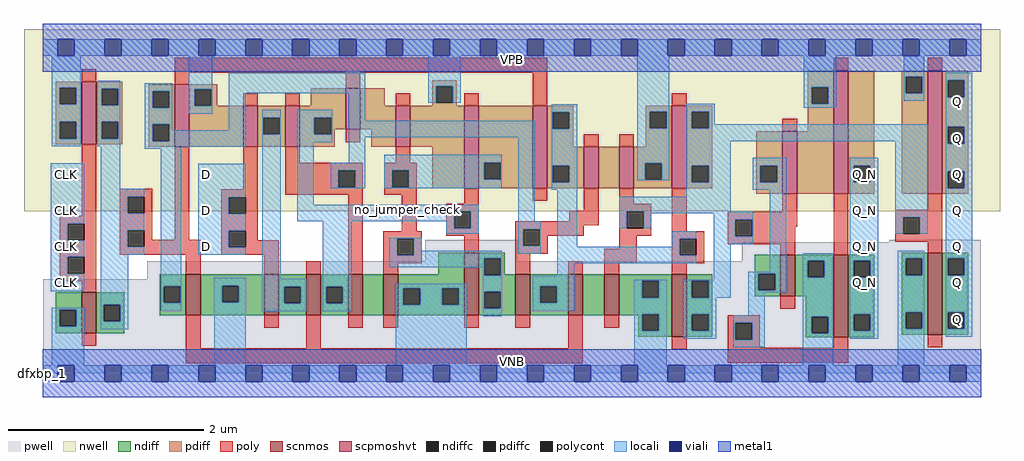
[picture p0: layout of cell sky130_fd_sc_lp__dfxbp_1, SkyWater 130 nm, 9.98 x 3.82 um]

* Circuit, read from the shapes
.subckt sky130_fd_sc_lp__dfxbp_1 CLK D VGND VNB VPB VPWR Q Q_N
XM1 n1 CLK VGND VNB sky130_fd_pr__nfet_01v8 w=0.42 l=0.15
XM2 VGND n1 n2 VNB sky130_fd_pr__nfet_01v8 w=0.42 l=0.15
XM3 n3 D VGND VNB sky130_fd_pr__nfet_01v8 w=0.42 l=0.15
XM4 n4 n1 n3 VNB sky130_fd_pr__nfet_01v8 w=0.42 l=0.15
XM5 n5 n2 n4 VNB sky130_fd_pr__nfet_01v8 w=0.42 l=0.15
XM6 VGND n6 n5 VNB sky130_fd_pr__nfet_01v8 w=0.42 l=0.15
XM7 n6 n4 VGND VNB sky130_fd_pr__nfet_01v8 w=0.64 l=0.15
XM8 n7 n2 n6 VNB sky130_fd_pr__nfet_01v8 w=0.42 l=0.15
XM9 n8 n1 n7 VNB sky130_fd_pr__nfet_01v8 w=0.42 l=0.15
XM10 VGND n9 n8 VNB sky130_fd_pr__nfet_01v8 w=0.42 l=0.15
XM11 n9 n7 VGND VNB sky130_fd_pr__nfet_01v8 w=0.64 l=0.15
XM12 VGND n9 n10 VNB sky130_fd_pr__nfet_01v8 w=0.42 l=0.15
XM13 Q_N n10 VGND VNB sky130_fd_pr__nfet_01v8 w=0.84 l=0.15
XM14 Q n9 VGND VNB sky130_fd_pr__nfet_01v8 w=0.84 l=0.15
XM15 n1 CLK VPWR VPB sky130_fd_pr__pfet_01v8_hvt w=0.64 l=0.15
XM16 VPWR n1 n2 VPB sky130_fd_pr__pfet_01v8_hvt w=0.64 l=0.15
XM17 n3 D VPWR VPB sky130_fd_pr__pfet_01v8_hvt w=0.42 l=0.15
XM18 n4 n2 n3 VPB sky130_fd_pr__pfet_01v8_hvt w=0.42 l=0.15
XM19 n11 n1 n4 VPB sky130_fd_pr__pfet_01v8_hvt w=0.42 l=0.15
XM20 VPWR n6 n11 VPB sky130_fd_pr__pfet_01v8_hvt w=0.42 l=0.15
XM21 n6 n4 VPWR VPB sky130_fd_pr__pfet_01v8_hvt w=0.84 l=0.15
XM22 n7 n1 n6 VPB sky130_fd_pr__pfet_01v8_hvt w=0.84 l=0.15
XM23 n12 n2 n7 VPB sky130_fd_pr__pfet_01v8_hvt w=0.42 l=0.15
XM24 VPWR n9 n12 VPB sky130_fd_pr__pfet_01v8_hvt w=0.42 l=0.15
XM25 n9 n7 VPWR VPB sky130_fd_pr__pfet_01v8_hvt w=0.84 l=0.15
XM26 VPWR n9 n10 VPB sky130_fd_pr__pfet_01v8_hvt w=0.64 l=0.15
XM27 Q_N n10 VPWR VPB sky130_fd_pr__pfet_01v8_hvt w=1.26 l=0.15
XM28 Q n9 VPWR VPB sky130_fd_pr__pfet_01v8_hvt w=1.26 l=0.15
.ends

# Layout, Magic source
magic
tech sky130A
magscale 1 2
<< nwell >>
rect -38 331 1958 704
<< pwell >>
rect 783 229 971 273
rect 1731 268 1919 273
rect 1430 229 1919 268
rect 214 192 1919 229
rect 1 49 1919 192
rect 0 0 1920 49
<< scnmos >>
rect 80 82 110 166
rect 293 119 323 203
rect 453 119 483 203
rect 539 119 569 203
rect 625 119 655 203
rect 697 119 727 203
rect 862 119 892 247
rect 967 119 997 203
rect 1075 119 1105 203
rect 1149 119 1179 203
rect 1287 75 1317 203
rect 1509 158 1539 242
rect 1618 74 1648 242
rect 1810 79 1840 247
<< scpmoshvt >>
rect 80 468 110 596
rect 270 463 300 591
rect 410 463 440 547
rect 496 463 526 547
rect 620 499 650 583
rect 722 463 752 547
rect 862 379 892 547
rect 1002 379 1032 547
rect 1107 379 1137 463
rect 1179 379 1209 463
rect 1287 379 1317 547
rect 1513 367 1543 495
rect 1618 367 1648 619
rect 1810 367 1840 619
<< ndiff >>
rect 809 203 862 247
rect 240 178 293 203
rect 27 130 80 166
rect 27 96 35 130
rect 69 96 80 130
rect 27 82 80 96
rect 110 140 167 166
rect 110 106 125 140
rect 159 106 167 140
rect 240 144 248 178
rect 282 144 293 178
rect 240 119 293 144
rect 323 179 453 203
rect 323 145 367 179
rect 401 145 453 179
rect 323 119 453 145
rect 483 177 539 203
rect 483 143 494 177
rect 528 143 539 177
rect 483 119 539 143
rect 569 177 625 203
rect 569 143 580 177
rect 614 143 625 177
rect 569 119 625 143
rect 655 119 697 203
rect 727 174 862 203
rect 727 140 738 174
rect 772 140 817 174
rect 851 140 862 174
rect 727 119 862 140
rect 892 235 945 247
rect 892 201 903 235
rect 937 203 945 235
rect 1456 204 1509 242
rect 937 201 967 203
rect 892 167 967 201
rect 892 133 903 167
rect 937 133 967 167
rect 892 119 967 133
rect 997 178 1075 203
rect 997 144 1018 178
rect 1052 144 1075 178
rect 997 119 1075 144
rect 1105 119 1149 203
rect 1179 189 1287 203
rect 1179 155 1226 189
rect 1260 155 1287 189
rect 1179 121 1287 155
rect 1179 119 1226 121
rect 110 82 167 106
rect 1218 87 1226 119
rect 1260 87 1287 121
rect 1218 75 1287 87
rect 1317 189 1370 203
rect 1317 155 1328 189
rect 1362 155 1370 189
rect 1456 170 1464 204
rect 1498 170 1509 204
rect 1456 158 1509 170
rect 1539 230 1618 242
rect 1539 196 1565 230
rect 1599 196 1618 230
rect 1539 158 1618 196
rect 1317 121 1370 155
rect 1317 87 1328 121
rect 1362 87 1370 121
rect 1317 75 1370 87
rect 1561 116 1618 158
rect 1561 82 1573 116
rect 1607 82 1618 116
rect 1561 74 1618 82
rect 1648 230 1701 242
rect 1648 196 1659 230
rect 1693 196 1701 230
rect 1648 121 1701 196
rect 1648 87 1659 121
rect 1693 87 1701 121
rect 1648 74 1701 87
rect 1757 235 1810 247
rect 1757 201 1765 235
rect 1799 201 1810 235
rect 1757 125 1810 201
rect 1757 91 1765 125
rect 1799 91 1810 125
rect 1757 79 1810 91
rect 1840 235 1893 247
rect 1840 201 1851 235
rect 1885 201 1893 235
rect 1840 125 1893 201
rect 1840 91 1851 125
rect 1885 91 1893 125
rect 1840 79 1893 91
<< pdiff >>
rect 27 584 80 596
rect 27 550 35 584
rect 69 550 80 584
rect 27 514 80 550
rect 27 480 35 514
rect 69 480 80 514
rect 27 468 80 480
rect 110 582 163 596
rect 110 548 121 582
rect 155 548 163 582
rect 110 514 163 548
rect 110 480 121 514
rect 155 480 163 514
rect 110 468 163 480
rect 217 577 270 591
rect 217 543 225 577
rect 259 543 270 577
rect 217 509 270 543
rect 217 475 225 509
rect 259 475 270 509
rect 217 463 270 475
rect 300 581 357 591
rect 797 587 847 599
rect 300 547 311 581
rect 345 547 357 581
rect 548 547 620 583
rect 300 463 410 547
rect 440 523 496 547
rect 440 489 451 523
rect 485 489 496 523
rect 440 463 496 489
rect 526 523 620 547
rect 526 489 556 523
rect 590 499 620 523
rect 650 547 700 583
rect 797 553 805 587
rect 839 553 847 587
rect 797 547 847 553
rect 1565 585 1618 619
rect 1565 551 1573 585
rect 1607 551 1618 585
rect 650 499 722 547
rect 590 489 598 499
rect 526 463 598 489
rect 672 463 722 499
rect 752 463 862 547
rect 797 379 862 463
rect 892 431 1002 547
rect 892 397 903 431
rect 937 397 1002 431
rect 892 379 1002 397
rect 1032 534 1085 547
rect 1032 500 1043 534
rect 1077 500 1085 534
rect 1032 463 1085 500
rect 1234 535 1287 547
rect 1234 501 1242 535
rect 1276 501 1287 535
rect 1234 463 1287 501
rect 1032 425 1107 463
rect 1032 391 1043 425
rect 1077 391 1107 425
rect 1032 379 1107 391
rect 1137 379 1179 463
rect 1209 430 1287 463
rect 1209 396 1232 430
rect 1266 396 1287 430
rect 1209 379 1287 396
rect 1317 535 1370 547
rect 1317 501 1328 535
rect 1362 501 1370 535
rect 1317 425 1370 501
rect 1565 495 1618 551
rect 1317 391 1328 425
rect 1362 391 1370 425
rect 1317 379 1370 391
rect 1460 425 1513 495
rect 1460 391 1468 425
rect 1502 391 1513 425
rect 1460 367 1513 391
rect 1543 367 1618 495
rect 1648 425 1701 619
rect 1648 391 1659 425
rect 1693 391 1701 425
rect 1648 367 1701 391
rect 1757 607 1810 619
rect 1757 573 1765 607
rect 1799 573 1810 607
rect 1757 367 1810 573
rect 1840 599 1893 619
rect 1840 565 1851 599
rect 1885 565 1893 599
rect 1840 504 1893 565
rect 1840 470 1851 504
rect 1885 470 1893 504
rect 1840 413 1893 470
rect 1840 379 1851 413
rect 1885 379 1893 413
rect 1840 367 1893 379
<< ndiffc >>
rect 35 96 69 130
rect 125 106 159 140
rect 248 144 282 178
rect 367 145 401 179
rect 494 143 528 177
rect 580 143 614 177
rect 738 140 772 174
rect 817 140 851 174
rect 903 201 937 235
rect 903 133 937 167
rect 1018 144 1052 178
rect 1226 155 1260 189
rect 1226 87 1260 121
rect 1328 155 1362 189
rect 1464 170 1498 204
rect 1565 196 1599 230
rect 1328 87 1362 121
rect 1573 82 1607 116
rect 1659 196 1693 230
rect 1659 87 1693 121
rect 1765 201 1799 235
rect 1765 91 1799 125
rect 1851 201 1885 235
rect 1851 91 1885 125
<< pdiffc >>
rect 35 550 69 584
rect 35 480 69 514
rect 121 548 155 582
rect 121 480 155 514
rect 225 543 259 577
rect 225 475 259 509
rect 311 547 345 581
rect 451 489 485 523
rect 556 489 590 523
rect 805 553 839 587
rect 1573 551 1607 585
rect 903 397 937 431
rect 1043 500 1077 534
rect 1242 501 1276 535
rect 1043 391 1077 425
rect 1232 396 1266 430
rect 1328 501 1362 535
rect 1328 391 1362 425
rect 1468 391 1502 425
rect 1659 391 1693 425
rect 1765 573 1799 607
rect 1851 565 1885 599
rect 1851 470 1885 504
rect 1851 379 1885 413
<< poly >>
rect 80 596 110 622
rect 270 615 1032 645
rect 1618 619 1648 645
rect 1810 619 1840 645
rect 270 591 300 615
rect 80 322 110 468
rect 620 583 650 615
rect 410 547 440 573
rect 496 547 526 573
rect 722 547 752 573
rect 862 547 892 573
rect 1002 547 1032 615
rect 1287 547 1317 573
rect 620 473 650 499
rect 35 306 110 322
rect 35 272 51 306
rect 85 272 110 306
rect 35 238 110 272
rect 158 361 224 377
rect 158 327 174 361
rect 208 327 224 361
rect 158 293 224 327
rect 158 259 174 293
rect 208 273 224 293
rect 270 273 300 463
rect 410 376 440 463
rect 365 360 440 376
rect 496 431 526 463
rect 722 431 752 463
rect 496 415 655 431
rect 496 381 605 415
rect 639 381 655 415
rect 496 365 655 381
rect 699 415 765 431
rect 699 381 715 415
rect 749 381 765 415
rect 699 365 765 381
rect 1107 463 1137 489
rect 1179 463 1209 489
rect 1513 495 1543 521
rect 365 326 381 360
rect 415 326 440 360
rect 365 292 440 326
rect 208 259 323 273
rect 158 243 323 259
rect 35 204 51 238
rect 85 204 110 238
rect 35 188 110 204
rect 293 203 323 243
rect 365 258 381 292
rect 415 272 440 292
rect 415 258 483 272
rect 365 242 483 258
rect 453 203 483 242
rect 539 203 569 229
rect 625 203 655 365
rect 735 291 765 365
rect 862 347 892 379
rect 1002 353 1032 379
rect 826 331 892 347
rect 1107 333 1137 379
rect 826 297 842 331
rect 876 297 892 331
rect 1077 311 1137 333
rect 697 275 775 291
rect 826 281 892 297
rect 697 241 725 275
rect 759 241 775 275
rect 862 247 892 281
rect 967 303 1137 311
rect 1179 347 1209 379
rect 1179 331 1245 347
rect 967 295 1107 303
rect 967 261 983 295
rect 1017 281 1107 295
rect 1179 297 1195 331
rect 1229 297 1245 331
rect 1179 281 1245 297
rect 1287 291 1317 379
rect 1513 330 1543 367
rect 1401 314 1543 330
rect 1017 261 1033 281
rect 697 225 775 241
rect 697 203 727 225
rect 80 166 110 188
rect 967 245 1033 261
rect 1179 255 1215 281
rect 967 203 997 245
rect 1075 203 1105 229
rect 1149 225 1215 255
rect 1287 275 1353 291
rect 1287 241 1303 275
rect 1337 241 1353 275
rect 1401 280 1417 314
rect 1451 300 1543 314
rect 1451 280 1539 300
rect 1401 264 1539 280
rect 1509 242 1539 264
rect 1618 242 1648 367
rect 1810 335 1840 367
rect 1744 319 1840 335
rect 1744 285 1760 319
rect 1794 285 1840 319
rect 1744 269 1840 285
rect 1810 247 1840 269
rect 1287 225 1353 241
rect 1149 203 1179 225
rect 1287 203 1317 225
rect 80 56 110 82
rect 293 51 323 119
rect 453 93 483 119
rect 539 51 569 119
rect 625 93 655 119
rect 697 93 727 119
rect 862 93 892 119
rect 967 93 997 119
rect 1075 51 1105 119
rect 1149 93 1179 119
rect 1509 132 1539 158
rect 1401 103 1467 119
rect 293 21 1105 51
rect 1287 49 1317 75
rect 1401 69 1417 103
rect 1451 69 1467 103
rect 1401 52 1467 69
rect 1618 52 1648 74
rect 1810 53 1840 79
rect 1401 22 1648 52
<< polycont >>
rect 51 272 85 306
rect 174 327 208 361
rect 174 259 208 293
rect 605 381 639 415
rect 715 381 749 415
rect 381 326 415 360
rect 51 204 85 238
rect 381 258 415 292
rect 842 297 876 331
rect 725 241 759 275
rect 983 261 1017 295
rect 1195 297 1229 331
rect 1303 241 1337 275
rect 1417 280 1451 314
rect 1760 285 1794 319
rect 1417 69 1451 103
<< locali >>
rect 0 649 31 683
rect 65 649 127 683
rect 161 649 223 683
rect 257 649 319 683
rect 353 649 415 683
rect 449 649 511 683
rect 545 649 607 683
rect 641 649 703 683
rect 737 649 799 683
rect 833 649 895 683
rect 929 649 991 683
rect 1025 649 1087 683
rect 1121 649 1183 683
rect 1217 649 1279 683
rect 1313 649 1375 683
rect 1409 649 1471 683
rect 1505 649 1567 683
rect 1601 649 1663 683
rect 1697 649 1759 683
rect 1793 649 1855 683
rect 1889 649 1920 683
rect 19 584 78 649
rect 19 550 35 584
rect 69 550 78 584
rect 19 514 78 550
rect 19 480 35 514
rect 69 480 78 514
rect 19 464 78 480
rect 112 582 159 598
rect 112 548 121 582
rect 155 548 159 582
rect 112 514 159 548
rect 112 480 121 514
rect 155 480 159 514
rect 112 464 159 480
rect 17 306 85 430
rect 17 272 51 306
rect 17 238 85 272
rect 17 204 51 238
rect 17 168 85 204
rect 119 377 159 464
rect 209 577 265 593
rect 209 543 225 577
rect 259 543 265 577
rect 209 509 265 543
rect 299 581 347 649
rect 299 547 311 581
rect 345 547 347 581
rect 299 531 347 547
rect 381 573 660 615
rect 209 475 225 509
rect 259 497 265 509
rect 381 497 415 573
rect 259 475 415 497
rect 209 463 415 475
rect 449 523 487 539
rect 449 489 451 523
rect 485 489 487 523
rect 209 459 284 463
rect 119 361 208 377
rect 119 327 174 361
rect 119 293 208 327
rect 119 259 174 293
rect 119 243 208 259
rect 119 140 175 243
rect 19 130 85 134
rect 19 96 35 130
rect 69 96 85 130
rect 19 17 85 96
rect 119 106 125 140
rect 159 106 175 140
rect 242 178 284 459
rect 318 360 415 429
rect 318 326 381 360
rect 318 292 415 326
rect 318 258 381 292
rect 318 242 415 258
rect 242 144 248 178
rect 282 144 284 178
rect 242 128 284 144
rect 351 179 415 195
rect 351 145 367 179
rect 401 145 415 179
rect 119 90 175 106
rect 351 17 415 145
rect 449 193 487 489
rect 521 523 592 539
rect 521 489 556 523
rect 590 489 592 523
rect 521 473 592 489
rect 626 517 660 573
rect 789 587 855 649
rect 789 553 805 587
rect 839 553 855 587
rect 1041 534 1093 550
rect 626 483 1007 517
rect 521 345 555 473
rect 626 431 660 483
rect 589 415 660 431
rect 589 381 605 415
rect 639 381 660 415
rect 589 379 660 381
rect 699 431 939 447
rect 699 415 903 431
rect 699 381 715 415
rect 749 397 903 415
rect 937 397 939 431
rect 749 381 939 397
rect 699 379 939 381
rect 521 331 892 345
rect 521 311 842 331
rect 449 177 539 193
rect 449 143 494 177
rect 528 143 539 177
rect 449 127 539 143
rect 573 177 632 311
rect 826 297 842 311
rect 876 297 892 331
rect 826 285 892 297
rect 973 311 1007 483
rect 1041 500 1043 534
rect 1077 500 1093 534
rect 1041 425 1093 500
rect 1041 391 1043 425
rect 1077 391 1093 425
rect 1216 535 1282 649
rect 1557 585 1623 649
rect 1557 551 1573 585
rect 1607 551 1623 585
rect 1761 607 1803 649
rect 1761 573 1765 607
rect 1799 573 1803 607
rect 1761 557 1803 573
rect 1847 599 1901 615
rect 1847 565 1851 599
rect 1885 565 1901 599
rect 1216 501 1242 535
rect 1276 501 1282 535
rect 1216 430 1282 501
rect 1216 396 1232 430
rect 1266 396 1282 430
rect 1216 395 1282 396
rect 1316 535 1375 551
rect 1557 543 1623 551
rect 1316 501 1328 535
rect 1362 509 1375 535
rect 1362 501 1810 509
rect 1316 475 1810 501
rect 1316 425 1407 475
rect 1041 375 1093 391
rect 973 295 1019 311
rect 709 275 775 277
rect 709 241 725 275
rect 759 251 775 275
rect 973 261 983 295
rect 1017 261 1019 295
rect 759 241 939 251
rect 973 245 1019 261
rect 1053 259 1093 375
rect 1316 391 1328 425
rect 1362 391 1407 425
rect 1316 361 1407 391
rect 1452 425 1521 441
rect 1452 391 1468 425
rect 1502 391 1521 425
rect 1452 375 1521 391
rect 1179 331 1407 361
rect 1179 297 1195 331
rect 1229 330 1407 331
rect 1229 327 1453 330
rect 1229 297 1245 327
rect 1373 314 1453 327
rect 1287 275 1337 291
rect 1287 259 1303 275
rect 709 235 939 241
rect 709 217 903 235
rect 901 201 903 217
rect 937 201 939 235
rect 573 143 580 177
rect 614 143 632 177
rect 573 127 632 143
rect 722 174 867 183
rect 722 140 738 174
rect 772 140 817 174
rect 851 140 867 174
rect 722 17 867 140
rect 901 167 939 201
rect 1053 241 1303 259
rect 1053 225 1337 241
rect 1373 280 1417 314
rect 1451 280 1453 314
rect 1373 264 1453 280
rect 1053 199 1087 225
rect 901 133 903 167
rect 937 133 939 167
rect 901 117 939 133
rect 1002 178 1087 199
rect 1373 191 1407 264
rect 1487 208 1521 375
rect 1651 425 1709 441
rect 1651 391 1659 425
rect 1693 391 1709 425
rect 1002 144 1018 178
rect 1052 144 1087 178
rect 1002 128 1087 144
rect 1210 189 1276 191
rect 1210 155 1226 189
rect 1260 155 1276 189
rect 1210 121 1276 155
rect 1210 87 1226 121
rect 1260 87 1276 121
rect 1210 17 1276 87
rect 1310 189 1407 191
rect 1310 155 1328 189
rect 1362 155 1407 189
rect 1443 204 1521 208
rect 1443 170 1464 204
rect 1498 170 1521 204
rect 1443 166 1521 170
rect 1555 230 1617 246
rect 1555 196 1565 230
rect 1599 196 1617 230
rect 1310 121 1378 155
rect 1310 87 1328 121
rect 1362 87 1378 121
rect 1443 119 1477 166
rect 1310 71 1378 87
rect 1412 103 1477 119
rect 1412 69 1417 103
rect 1451 69 1477 103
rect 1412 53 1477 69
rect 1555 116 1617 196
rect 1555 82 1573 116
rect 1607 82 1617 116
rect 1555 17 1617 82
rect 1651 230 1709 391
rect 1744 319 1810 475
rect 1744 285 1760 319
rect 1794 285 1810 319
rect 1847 504 1901 565
rect 1847 470 1851 504
rect 1885 470 1901 504
rect 1847 413 1901 470
rect 1847 379 1851 413
rect 1885 379 1901 413
rect 1651 196 1659 230
rect 1693 196 1709 230
rect 1651 121 1709 196
rect 1651 87 1659 121
rect 1693 87 1709 121
rect 1651 71 1709 87
rect 1749 235 1803 251
rect 1749 201 1765 235
rect 1799 201 1803 235
rect 1749 125 1803 201
rect 1749 91 1765 125
rect 1799 91 1803 125
rect 1749 17 1803 91
rect 1847 235 1901 379
rect 1847 201 1851 235
rect 1885 201 1901 235
rect 1847 125 1901 201
rect 1847 91 1851 125
rect 1885 91 1901 125
rect 1847 75 1901 91
rect 0 -17 31 17
rect 65 -17 127 17
rect 161 -17 223 17
rect 257 -17 319 17
rect 353 -17 415 17
rect 449 -17 511 17
rect 545 -17 607 17
rect 641 -17 703 17
rect 737 -17 799 17
rect 833 -17 895 17
rect 929 -17 991 17
rect 1025 -17 1087 17
rect 1121 -17 1183 17
rect 1217 -17 1279 17
rect 1313 -17 1375 17
rect 1409 -17 1471 17
rect 1505 -17 1567 17
rect 1601 -17 1663 17
rect 1697 -17 1759 17
rect 1793 -17 1855 17
rect 1889 -17 1920 17
<< viali >>
rect 31 649 65 683
rect 127 649 161 683
rect 223 649 257 683
rect 319 649 353 683
rect 415 649 449 683
rect 511 649 545 683
rect 607 649 641 683
rect 703 649 737 683
rect 799 649 833 683
rect 895 649 929 683
rect 991 649 1025 683
rect 1087 649 1121 683
rect 1183 649 1217 683
rect 1279 649 1313 683
rect 1375 649 1409 683
rect 1471 649 1505 683
rect 1567 649 1601 683
rect 1663 649 1697 683
rect 1759 649 1793 683
rect 1855 649 1889 683
rect 31 -17 65 17
rect 127 -17 161 17
rect 223 -17 257 17
rect 319 -17 353 17
rect 415 -17 449 17
rect 511 -17 545 17
rect 607 -17 641 17
rect 703 -17 737 17
rect 799 -17 833 17
rect 895 -17 929 17
rect 991 -17 1025 17
rect 1087 -17 1121 17
rect 1183 -17 1217 17
rect 1279 -17 1313 17
rect 1375 -17 1409 17
rect 1471 -17 1505 17
rect 1567 -17 1601 17
rect 1663 -17 1697 17
rect 1759 -17 1793 17
rect 1855 -17 1889 17
<< metal1 >>
rect 0 683 1920 715
rect 0 649 31 683
rect 65 649 127 683
rect 161 649 223 683
rect 257 649 319 683
rect 353 649 415 683
rect 449 649 511 683
rect 545 649 607 683
rect 641 649 703 683
rect 737 649 799 683
rect 833 649 895 683
rect 929 649 991 683
rect 1025 649 1087 683
rect 1121 649 1183 683
rect 1217 649 1279 683
rect 1313 649 1375 683
rect 1409 649 1471 683
rect 1505 649 1567 683
rect 1601 649 1663 683
rect 1697 649 1759 683
rect 1793 649 1855 683
rect 1889 649 1920 683
rect 0 617 1920 649
rect 0 17 1920 49
rect 0 -17 31 17
rect 65 -17 127 17
rect 161 -17 223 17
rect 257 -17 319 17
rect 353 -17 415 17
rect 449 -17 511 17
rect 545 -17 607 17
rect 641 -17 703 17
rect 737 -17 799 17
rect 833 -17 895 17
rect 929 -17 991 17
rect 1025 -17 1087 17
rect 1121 -17 1183 17
rect 1217 -17 1279 17
rect 1313 -17 1375 17
rect 1409 -17 1471 17
rect 1505 -17 1567 17
rect 1601 -17 1663 17
rect 1697 -17 1759 17
rect 1793 -17 1855 17
rect 1889 -17 1920 17
rect 0 -49 1920 -17
<< labels >>
flabel pwell s 0 0 1920 49 0 FreeSans 200 0 0 0 VNB
port 4 nsew ground bidirectional
flabel nwell s 0 617 1920 666 0 FreeSans 200 0 0 0 VPB
port 5 nsew power bidirectional
rlabel comment s 0 0 0 0 4 dfxbp_1
flabel comment s 746 335 746 335 0 FreeSans 200 90 0 0 no_jumper_check
flabel metal1 s 0 617 1920 666 0 FreeSans 340 0 0 0 VPWR
port 6 nsew power bidirectional
flabel metal1 s 0 0 1920 49 0 FreeSans 340 0 0 0 VGND
port 3 nsew ground bidirectional
flabel locali s 31 168 65 202 0 FreeSans 340 0 0 0 CLK
port 1 nsew clock input
flabel locali s 31 242 65 276 0 FreeSans 340 0 0 0 CLK
port 1 nsew clock input
flabel locali s 31 316 65 350 0 FreeSans 340 0 0 0 CLK
port 1 nsew clock input
flabel locali s 31 390 65 424 0 FreeSans 340 0 0 0 CLK
port 1 nsew clock input
flabel locali s 319 242 353 276 0 FreeSans 340 0 0 0 D
port 2 nsew signal input
flabel locali s 319 316 353 350 0 FreeSans 340 0 0 0 D
port 2 nsew signal input
flabel locali s 319 390 353 424 0 FreeSans 340 0 0 0 D
port 2 nsew signal input
flabel locali s 1663 168 1697 202 0 FreeSans 340 0 0 0 Q_N
port 8 nsew signal output
flabel locali s 1663 242 1697 276 0 FreeSans 340 0 0 0 Q_N
port 8 nsew signal output
flabel locali s 1663 316 1697 350 0 FreeSans 340 0 0 0 Q_N
port 8 nsew signal output
flabel locali s 1663 390 1697 424 0 FreeSans 340 0 0 0 Q_N
port 8 nsew signal output
flabel locali s 1855 94 1889 128 0 FreeSans 340 0 0 0 Q
port 7 nsew signal output
flabel locali s 1855 168 1889 202 0 FreeSans 340 0 0 0 Q
port 7 nsew signal output
flabel locali s 1855 242 1889 276 0 FreeSans 340 0 0 0 Q
port 7 nsew signal output
flabel locali s 1855 316 1889 350 0 FreeSans 340 0 0 0 Q
port 7 nsew signal output
flabel locali s 1855 390 1889 424 0 FreeSans 340 0 0 0 Q
port 7 nsew signal output
flabel locali s 1855 464 1889 498 0 FreeSans 340 0 0 0 Q
port 7 nsew signal output
flabel locali s 1855 538 1889 572 0 FreeSans 340 0 0 0 Q
port 7 nsew signal output
<< properties >>
string LEFsite unit
string LEFclass CORE
string FIXED_BBOX 0 0 1920 666
string GDS_FILE $PDKPATH/libs.ref/sky130_fd_sc_lp/gds/sky130_fd_sc_lp.gds
string LEFsymmetry X Y R90
string GDS_END 2378898
string GDS_START 2363712
<< end >>
